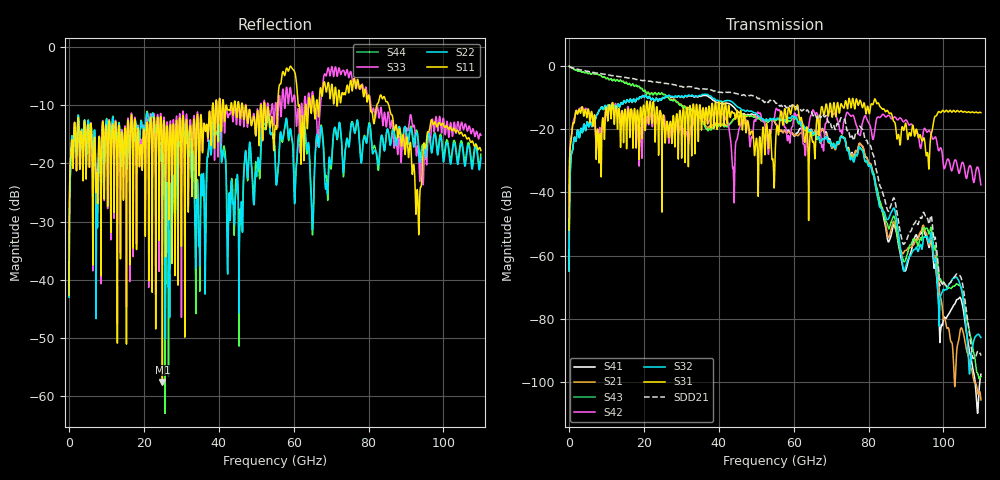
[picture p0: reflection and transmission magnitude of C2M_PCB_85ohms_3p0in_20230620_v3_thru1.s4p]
! Info: Touchstone file created by Circ.  Input file=C2M_PCB_85ohms_3p0in_20230620_v3.circ
# Hz S RI R 50
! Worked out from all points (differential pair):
!   11000 points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, 10 MHz to 110 GHz, reference 50 ohm
!   strongest paths, dB at 10 MHz, 27.51 GHz, 55.01 GHz, 82.51 GHz, 110 GHz:
!     S31: -51.9, -22.7, -29.5, -11.7, -14.8
!     S32: -64.8, -9.6, -16.8, -41.7, -85.9
!     S42: -51.8, -23.2, -15.1, -16.1, -37.6
!     S43: -0.1, -10.9, -17.2, -40.0, -98.2
!     S21: -0.1, -10.6, -17.8, -41.9, -105.6
!     S41: -64.8, -9.7, -17.9, -40.8, -97.5
!   taken as a pair (ports 3,1 in; 4,2 out), SDD21 dB: -0.1, -5.8, -11.4, -35.1, -91.6
!   lowest |S11| = -57.6 dB at 24.92 GHz (marker M1), VSWR 1.00, Z = 50 - j0.132 ohm
!   |S11| at or under -10 dB: start of sweep to 38.33 GHz; 46.35 GHz to 51.21 GHz (4.859 GHz wide, 9.96 % of centre); 85.4 GHz to end of sweep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
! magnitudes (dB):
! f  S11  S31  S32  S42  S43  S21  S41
! 10 MHz  -42.6  -51.9  -64.8  -51.8  -0.1  -0.1  -64.8
! 1.92 GHz  -20.4  -14.1  -23.1  -14.0  -1.2  -1.2  -23.1
! 24.92 GHz  -57.6  -22.2  -10.1  -19.6  -8.7  -8.7  -10.1
! 77.97 GHz  -6.6  -11.4  -26.1  -20.7  -26.3  -24.8  -24.9
! 89.47 GHz  -16.0  -20.2  -64.9  -17.6  -61.9  -58.8  -64.7
! 94.7 GHz  -16.6  -22.8  -54.3  -20.4  -51.2  -50.5  -51.3
! 110 GHz  -17.8  -14.8  -85.9  -37.6  -98.2  -105.6  -97.5
